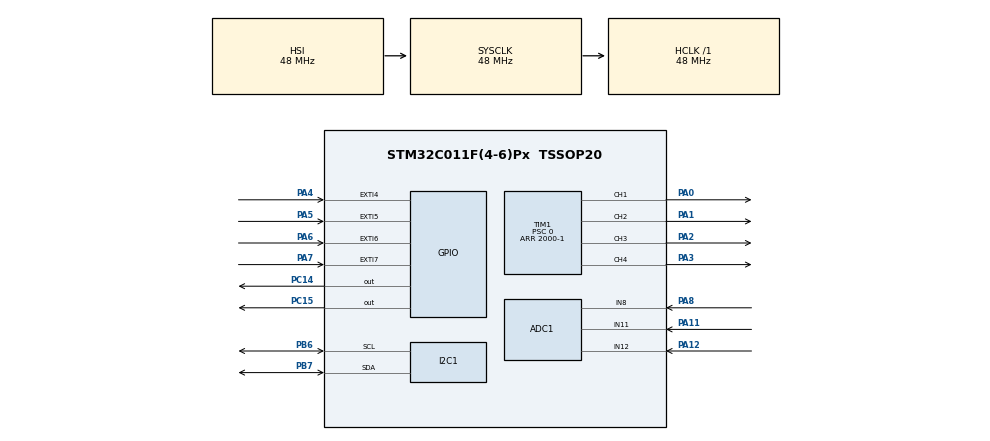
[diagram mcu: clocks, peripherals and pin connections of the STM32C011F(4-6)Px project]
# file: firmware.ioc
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ADC1.Channel-10\#ChannelRegularConversion=ADC_CHANNEL_8
ADC1.Channel-8\#ChannelRegularConversion=ADC_CHANNEL_11
ADC1.Channel-9\#ChannelRegularConversion=ADC_CHANNEL_12
ADC1.ContinuousConvMode=ENABLE
ADC1.DMAContinuousRequests=ENABLE
ADC1.EOCSelection=ADC_EOC_SEQ_CONV
ADC1.ExternalTrigConv=ADC_SOFTWARE_START
ADC1.NbrOfConversion=3
ADC1.NbrOfConversionFlag=1
ADC1.OffsetNumber-10\#ChannelRegularConversion=ADC_OFFSET_NONE
ADC1.OffsetNumber-8\#ChannelRegularConversion=ADC_OFFSET_NONE
ADC1.OffsetNumber-9\#ChannelRegularConversion=ADC_OFFSET_NONE
ADC1.OversamplingMode=DISABLE
ADC1.Rank-10\#ChannelRegularConversion=3
ADC1.Rank-8\#ChannelRegularConversion=1
ADC1.Rank-9\#ChannelRegularConversion=2
ADC1.SamplingTime-10\#ChannelRegularConversion=ADC_SAMPLINGTIME_COMMON_1
ADC1.SamplingTime-8\#ChannelRegularConversion=ADC_SAMPLINGTIME_COMMON_1
ADC1.SamplingTime-9\#ChannelRegularConversion=ADC_SAMPLINGTIME_COMMON_1
ADC1.SamplingTimeCommon1=ADC_SAMPLETIME_39CYCLES_5
ADC1.SamplingTimeCommon2=ADC_SAMPLETIME_39CYCLES_5
ADC1.SelectedChannel=ADC_CHANNEL_TEMPSENSOR|ADC_CHANNEL_8|ADC_CHANNEL_11|ADC_CHANNEL_12|ADC_CHANNEL_VDDA
ADC1.Sequencer=FULLY_CONFIGURABLE
ADC1.master=1
Dma.ADC1.0.Direction=DMA_PERIPH_TO_MEMORY
Dma.ADC1.0.EventEnable=DISABLE
Dma.ADC1.0.Instance=DMA1_Channel1
Dma.ADC1.0.MemDataAlignment=DMA_MDATAALIGN_HALFWORD
Dma.ADC1.0.MemInc=DMA_MINC_ENABLE
Dma.ADC1.0.Mode=DMA_CIRCULAR
Dma.ADC1.0.PeriphDataAlignment=DMA_PDATAALIGN_HALFWORD
Dma.ADC1.0.PeriphInc=DMA_PINC_DISABLE
Dma.ADC1.0.Polarity=HAL_DMAMUX_REQ_GEN_RISING
Dma.ADC1.0.Priority=DMA_PRIORITY_LOW
Dma.ADC1.0.RequestNumber=1
Dma.ADC1.0.SignalID=NONE
Dma.ADC1.0.SyncEnable=DISABLE
Dma.ADC1.0.SyncPolarity=HAL_DMAMUX_SYNC_NO_EVENT
Dma.ADC1.0.SyncRequestNumber=1
Dma.ADC1.0.SyncSignalID=NONE
Dma.Request0=ADC1
I2C1.OwnAddress=0x47
I2C1.Timing=0x10805D88
Mcu.Family=STM32C0
Mcu.Name=STM32C011F(4-6)Px
Mcu.Package=TSSOP20
NVIC.DMA1_Channel1_IRQn=true\:0\:0\:false\:false\:true\:false\:true\:true
NVIC.EXTI4_15_IRQn=true\:0\:0\:false\:false\:true\:true\:true\:true
NVIC.I2C1_IRQn=true\:0\:0\:false\:false\:true\:true\:true\:true
NVIC.TIM1_BRK_UP_TRG_COM_IRQn=true\:0\:0\:false\:false\:true\:true\:true\:true
NVIC.TIM1_CC_IRQn=true\:0\:0\:false\:false\:true\:true\:true\:true
NVIC.TIM3_IRQn=true\:0\:0\:false\:false\:true\:true\:true\:true
PA0.Signal=S_TIM1_CH1
PA1.Signal=S_TIM1_CH2
PA11\ [PA9].Mode=IN11
PA11\ [PA9].Signal=ADC1_IN11
PA12\ [PA10].Mode=IN12
PA12\ [PA10].Signal=ADC1_IN12
PA2.Signal=S_TIM1_CH3
PA3.Signal=S_TIM1_CH4
PA4.GPIO_ModeDefaultEXTI=GPIO_MODE_IT_RISING_FALLING
PA4.GPIO_PuPd=GPIO_PULLUP
PA4.Signal=GPXTI4
PA5.GPIO_ModeDefaultEXTI=GPIO_MODE_IT_RISING_FALLING
PA5.GPIO_PuPd=GPIO_PULLUP
PA5.Signal=GPXTI5
PA6.GPIO_ModeDefaultEXTI=GPIO_MODE_IT_RISING_FALLING
PA6.GPIO_PuPd=GPIO_PULLUP
PA6.Signal=GPXTI6
PA7.GPIO_ModeDefaultEXTI=GPIO_MODE_IT_RISING_FALLING
PA7.GPIO_PuPd=GPIO_PULLUP
PA7.Signal=GPXTI7
PA8.Mode=IN8
PA8.Signal=ADC1_IN8
PB6.GPIO_Mode=GPIO_MODE_AF_OD
PB6.GPIO_Pu=GPIO_PULLUP
PB6.GPIO_Speed=GPIO_SPEED_FREQ_VERY_HIGH
PB6.Mode=I2C
PB6.Signal=I2C1_SCL
PB7.GPIO_Mode=GPIO_MODE_AF_OD
PB7.GPIO_Pu=GPIO_PULLUP
PB7.GPIO_Speed=GPIO_SPEED_FREQ_VERY_HIGH
PB7.Mode=I2C
PB7.Signal=I2C1_SDA
PC14-OSCX_IN\ (PC14).Signal=GPIO_Output
PC15-OSCX_OUT\ (PC15).Signal=GPIO_Output
ProjectManager.HeapSize=0x200
ProjectManager.StackSize=0x400
ProjectManager.TargetToolchain=CMake
RCC.ADCFreq_Value=48000000
RCC.AHBFreq_Value=48000000
RCC.CortexFreq_Value=48000000
RCC.EXTERNAL_CLOCK_VALUE=12288000
RCC.HCLKFreq_Value=48000000
RCC.HSE_VALUE=8000000
RCC.HSISYSCLKDivider=RCC_HSI_DIV1
RCC.HSI_VALUE=48000000
RCC.LSE_VALUE=32768
RCC.SYSCLKFreq_VALUE=48000000
SH.S_TIM1_CH1.0=TIM1_CH1,PWM Generation1 CH1
SH.S_TIM1_CH2.0=TIM1_CH2,PWM Generation2 CH2
SH.S_TIM1_CH3.0=TIM1_CH3,PWM Generation3 CH3
SH.S_TIM1_CH4.0=TIM1_CH4,PWM Generation4 CH4
TIM1.Channel-PWM\ Generation1\ CH1=TIM_CHANNEL_1
TIM1.Channel-PWM\ Generation2\ CH2=TIM_CHANNEL_2
TIM1.Channel-PWM\ Generation3\ CH3=TIM_CHANNEL_3
TIM1.Channel-PWM\ Generation4\ CH4=TIM_CHANNEL_4
TIM1.Period=2000-1
TIM1.Prescaler=0
TIM3.Channel-PWM\ Generation1\ No\ Output=TIM_CHANNEL_1
TIM3.Period=1000-1
TIM3.Prescaler=48-1
VP_ADC1_TempSens_Input.Mode=IN-TempSens
VP_ADC1_Vdda_Input.Mode=IN-VDDA
VP_TIM3_VS_no_output1.Mode=PWM Generation1 No Output
board=custom

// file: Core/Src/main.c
/* USER CODE BEGIN Header */
/**
 ******************************************************************************
 * @file           : main.c
 * @brief          : Main program body
 ******************************************************************************
 * @attention
 *
 * Copyright (c) 2025 STMicroelectronics.
 * All rights reserved.
 *
 * This software is licensed under terms that can be found in the LICENSE file
 * in the root directory of this software component.
 * If no LICENSE file comes with this software, it is provided AS-IS.
 *
 ******************************************************************************
 */
/* USER CODE END Header */
#include "main.h"

/* USER CODE BEGIN Includes */
#include <math.h>
/* USER CODE END Includes */

/* USER CODE BEGIN PD */
#define I2C_SLAVE_ADDRESS 0x47

#define I2C_WHO_AM_I_REGISTER 0x75
#define I2C_DATA1_WRITE_REGISTER 0x76
#define I2C_DATA1_READ_REGISTER 0x77
#define I2C_TEMP_SENSOR_REGISTER 0x78
#define I2C_CURRENT_SENSOR_REGISTER 0x79
#define I2C_ANGLE_SENSOR_REGISTER 0x7A

#define I2C_WHO_AM_I_VALUE 0x68

#define I2C_BUFFER_SIZE 10

#define KELVIN 273.15f
#define NTC_B 3380.0f
#define NTC_R0 10000.0f
#define NTC_K0 (25.0f + 273.15f)
#define NTC_R 10000.0f
#define VDD 3.3f
#define ADC_RESOLUTION 4096.0f

/* USER CODE END PD */

ADC_HandleTypeDef hadc1;
DMA_HandleTypeDef hdma_adc1;

I2C_HandleTypeDef hi2c1;

TIM_HandleTypeDef htim1;
TIM_HandleTypeDef htim3;

/* USER CODE BEGIN PV */

uint8_t RxData[I2C_BUFFER_SIZE] = {0};
uint8_t TxData[I2C_BUFFER_SIZE] = {0};
uint8_t CountRx = 0;

uint8_t data1;

uint16_t adc_dma[5];

float temprature;
float current[2];
uint8_t angle[2];

/* USER CODE END PV */

void SystemClock_Config(void);
static void MX_GPIO_Init(void);
static void MX_DMA_Init(void);
static void MX_I2C1_Init(void);
static void MX_TIM1_Init(void);
static void MX_ADC1_Init(void);
static void MX_TIM3_Init(void);
/* USER CODE BEGIN PFP */

float convertToVoltage(uint16_t adcValue);
float convertToResistance(float Voltage);
float ConvertToCelsius(float resistance);
float AdcToCelcius(uint16_t adcValue);
float ConvertToCurrent(uint16_t adc);
void HAL_TIM_PeriodElapsedCallback(TIM_HandleTypeDef *htim);
void HAL_I2C_ListenCpltCallback(I2C_HandleTypeDef *hi2c);
void HAL_I2C_AddrCallback(I2C_HandleTypeDef *hi2c, uint8_t TransferDirection, uint16_t AddrMatchCode);
void HAL_I2C_SlaveRxCpltCallback(I2C_HandleTypeDef *hi2c);
void HAL_I2C_ErrorCallback(I2C_HandleTypeDef *hi2c);
void HAL_GPIO_EXTI_Rising_Callback(uint16_t GPIO_Pin);

/* USER CODE END PFP */

/* USER CODE BEGIN 0 */

float convertToVoltage(uint16_t adcValue)
{
	return (float)adcValue * VDD / ADC_RESOLUTION;
}

float convertToResistance(float Voltage)
{
	return (VDD / Voltage - 1.0f) * NTC_R;
}

float ConvertToCelsius(float resistance)
{
	float temp = NTC_B / (logf(resistance / NTC_R0) + NTC_B / NTC_K0);
	return temp - KELVIN;
}

float AdcToCelcius(uint16_t adcValue)
{
	return ConvertToCelsius(convertToResistance(convertToVoltage(adcValue)));
}

float ConvertToCurrent(uint16_t adc)
{
	return ((float)(adc - 1000) / ADC_RESOLUTION) / 0.092f;
}

void HAL_TIM_PeriodElapsedCallback(TIM_HandleTypeDef *htim)
{
	if (htim == &htim1)
	{
		;
	}
	else if (htim == &htim3)
	{
		current[0] = ConvertToCurrent(adc_dma[0]);
		current[1] = ConvertToCurrent(adc_dma[1]);
		temprature = AdcToCelcius(adc_dma[2]);
	}
}

void HAL_I2C_ListenCpltCallback(I2C_HandleTypeDef *hi2c)
{
	HAL_I2C_EnableListen_IT(hi2c);
}

void HAL_I2C_AddrCallback(I2C_HandleTypeDef *hi2c, uint8_t TransferDirection, uint16_t AddrMatchCode)
{
	if (TransferDirection == I2C_DIRECTION_TRANSMIT) // if the master wants to transmit the data
	{
		HAL_I2C_Slave_Seq_Receive_IT(hi2c, RxData, I2C_BUFFER_SIZE, I2C_FIRST_AND_LAST_FRAME);

		switch (RxData[0])
		{
		case I2C_DATA1_WRITE_REGISTER:
			data1 = RxData[1];
			break;

		default:
			// Error_Handler();
			break;
		}
	}
	else if (TransferDirection == I2C_DIRECTION_RECEIVE) // if the master wants to receive the data
	{
		switch (RxData[0])
		{
		case I2C_WHO_AM_I_REGISTER:
			TxData[0] = I2C_WHO_AM_I_VALUE;
			HAL_I2C_Slave_Seq_Transmit_IT(hi2c, TxData, 1, I2C_LAST_FRAME);
			break;

		case I2C_DATA1_READ_REGISTER:
			TxData[0] = data1;
			HAL_I2C_Slave_Seq_Transmit_IT(hi2c, TxData, 1, I2C_LAST_FRAME);
			break;

		case I2C_TEMP_SENSOR_REGISTER:
			uint16_t temporary = (uint16_t)(temprature * 100);
			TxData[0] = (uint8_t)(temporary >> 8);
			TxData[1] = (uint8_t)(temporary & 0xFF);
			HAL_I2C_Slave_Seq_Transmit_IT(hi2c, TxData, 2, I2C_LAST_FRAME);
			break;

		case I2C_CURRENT_SENSOR_REGISTER:
			uint16_t temporary1 = (uint16_t)(adc_dma[0]);
			uint16_t temporary2 = (uint16_t)(adc_dma[1]);
			TxData[0] = (uint8_t)(temporary1 >> 8);
			TxData[1] = (uint8_t)(temporary1 & 0xFF);
			TxData[2] = (uint8_t)(temporary2 >> 8);
			TxData[3] = (uint8_t)(temporary2 & 0xFF);
			HAL_I2C_Slave_Seq_Transmit_IT(hi2c, TxData, 4, I2C_LAST_FRAME);
			break;

		case I2C_ANGLE_SENSOR_REGISTER:
			uint8_t temporary3 = angle[0];
			uint8_t temporary4 = angle[1];
			TxData[0] = temporary3;
			TxData[1] = temporary4;
			HAL_I2C_Slave_Seq_Transmit_IT(hi2c, TxData, 2, I2C_LAST_FRAME);
			break;

		default:
			// Error_Handler();
			break;
		}
	}
}

void HAL_I2C_SlaveRxCpltCallback(I2C_HandleTypeDef *hi2c)
{
	CountRx++;
}

void HAL_I2C_ErrorCallback(I2C_HandleTypeDef *hi2c)
{
	HAL_I2C_EnableListen_IT(hi2c);
}

void HAL_GPIO_EXTI_Rising_Callback(uint16_t GPIO_Pin)
{
	if (GPIO_Pin == GPIO_PIN_4)
	{
		if (HAL_GPIO_ReadPin(GPIOA, GPIO_PIN_5) == GPIO_PIN_SET)
		{
			angle[0]++;
		}
		else
		{
			angle[0]--;
		}
	}
	else if (GPIO_Pin == GPIO_PIN_5)
	{
		if (HAL_GPIO_ReadPin(GPIOA, GPIO_PIN_4) == GPIO_PIN_SET)
		{
			angle[0]--;
		}
		else
		{
			angle[0]++;
		}
	}
	else if (GPIO_Pin == GPIO_PIN_6)
	{
		if (HAL_GPIO_ReadPin(GPIOA, GPIO_PIN_7) == GPIO_PIN_SET)
		{
			angle[1]++;
		}
		else
		{
			angle[1]--;
		}
	}
	else if (GPIO_Pin == GPIO_PIN_7)
	{
		if (HAL_GPIO_ReadPin(GPIOA, GPIO_PIN_6) == GPIO_PIN_SET)
		{
			angle[1]--;
		}
		else
		{
			angle[1]++;
		}
	}
}

/* USER CODE END 0 */

int main(void)
{

	/* MCU Configuration--------------------------------------------------------*/

	/* Reset of all peripherals, Initializes the Flash interface and the Systick. */
	HAL_Init();

	/* Configure the system clock */
	SystemClock_Config();

	/* Initialize all configured peripherals */
	MX_GPIO_Init();
	MX_DMA_Init();
	MX_I2C1_Init();
	MX_TIM1_Init();
	MX_ADC1_Init();
	MX_TIM3_Init();
	/* USER CODE BEGIN 2 */
	HAL_TIM_Base_Start_IT(&htim1);
	HAL_TIM_Base_Start_IT(&htim3);

	HAL_TIM_PWM_Start(&htim1, TIM_CHANNEL_1);
	HAL_TIM_PWM_Start(&htim1, TIM_CHANNEL_2);
	HAL_TIM_PWM_Start(&htim1, TIM_CHANNEL_3);
	HAL_TIM_PWM_Start(&htim1, TIM_CHANNEL_4);

	HAL_ADC_Start_DMA(&hadc1, (uint32_t *)adc_dma, 3);
	hdma_adc1.Instance->CCR &= ~(DMA_IT_TC | DMA_IT_HT);

	HAL_I2C_EnableListen_IT(&hi2c1);

	HAL_GPIO_TogglePin(GPIOC, GPIO_PIN_15);

	/* USER CODE END 2 */

	/* Infinite loop */
	/* USER CODE BEGIN WHILE */
	while (1)
	{
		HAL_GPIO_TogglePin(GPIOC, GPIO_PIN_14 | GPIO_PIN_15);

		__HAL_TIM_SET_COMPARE(&htim1, TIM_CHANNEL_1, 0);
		__HAL_TIM_SET_COMPARE(&htim1, TIM_CHANNEL_2, 1999);
		__HAL_TIM_SET_COMPARE(&htim1, TIM_CHANNEL_3, 0);
		__HAL_TIM_SET_COMPARE(&htim1, TIM_CHANNEL_4, 1999);

		HAL_Delay(200);

		HAL_GPIO_TogglePin(GPIOC, GPIO_PIN_14 | GPIO_PIN_15);

		__HAL_TIM_SET_COMPARE(&htim1, TIM_CHANNEL_1, 1999);
		__HAL_TIM_SET_COMPARE(&htim1, TIM_CHANNEL_2, 0);
		__HAL_TIM_SET_COMPARE(&htim1, TIM_CHANNEL_3, 1999);
		__HAL_TIM_SET_COMPARE(&htim1, TIM_CHANNEL_4, 0);

		HAL_Delay(200);
		/* USER CODE END WHILE */

	}
}

void SystemClock_Config(void)
{
	RCC_OscInitTypeDef RCC_OscInitStruct = {0};
	RCC_ClkInitTypeDef RCC_ClkInitStruct = {0};

	__HAL_FLASH_SET_LATENCY(FLASH_LATENCY_1);

	/** Initializes the RCC Oscillators according to the specified parameters
	 * in the RCC_OscInitTypeDef structure.
	 */
	RCC_OscInitStruct.OscillatorType = RCC_OSCILLATORTYPE_HSI;
	RCC_OscInitStruct.HSIState = RCC_HSI_ON;
	RCC_OscInitStruct.HSIDiv = RCC_HSI_DIV1;
	RCC_OscInitStruct.HSICalibrationValue = RCC_HSICALIBRATION_DEFAULT;
	if (HAL_RCC_OscConfig(&RCC_OscInitStruct) != HAL_OK)
	{
		Error_Handler();
	}

	/** Initializes the CPU, AHB and APB buses clocks
	 */
	RCC_ClkInitStruct.ClockType = RCC_CLOCKTYPE_HCLK | RCC_CLOCKTYPE_SYSCLK | RCC_CLOCKTYPE_PCLK1;
	RCC_ClkInitStruct.SYSCLKSource = RCC_SYSCLKSOURCE_HSI;
	RCC_ClkInitStruct.SYSCLKDivider = RCC_SYSCLK_DIV1;
	RCC_ClkInitStruct.AHBCLKDivider = RCC_HCLK_DIV1;
	RCC_ClkInitStruct.APB1CLKDivider = RCC_APB1_DIV1;

	if (HAL_RCC_ClockConfig(&RCC_ClkInitStruct, FLASH_LATENCY_1) != HAL_OK)
	{
		Error_Handler();
	}
}

static void MX_ADC1_Init(void)
{

	ADC_ChannelConfTypeDef sConfig = {0};

	/** Configure the global features of the ADC (Clock, Resolution, Data Alignment and number of conversion)
	 */
	hadc1.Instance = ADC1;
	hadc1.Init.ClockPrescaler = ADC_CLOCK_SYNC_PCLK_DIV2;
	hadc1.Init.Resolution = ADC_RESOLUTION_12B;
	hadc1.Init.DataAlign = ADC_DATAALIGN_RIGHT;
	hadc1.Init.ScanConvMode = ADC_SCAN_ENABLE;
	hadc1.Init.EOCSelection = ADC_EOC_SEQ_CONV;
	hadc1.Init.LowPowerAutoWait = DISABLE;
	hadc1.Init.LowPowerAutoPowerOff = DISABLE;
	hadc1.Init.ContinuousConvMode = ENABLE;
	hadc1.Init.NbrOfConversion = 3;
	hadc1.Init.ExternalTrigConv = ADC_SOFTWARE_START;
	hadc1.Init.ExternalTrigConvEdge = ADC_EXTERNALTRIGCONVEDGE_NONE;
	hadc1.Init.DMAContinuousRequests = ENABLE;
	hadc1.Init.Overrun = ADC_OVR_DATA_PRESERVED;
	hadc1.Init.SamplingTimeCommon1 = ADC_SAMPLETIME_39CYCLES_5;
	hadc1.Init.SamplingTimeCommon2 = ADC_SAMPLETIME_39CYCLES_5;
	hadc1.Init.OversamplingMode = DISABLE;
	hadc1.Init.TriggerFrequencyMode = ADC_TRIGGER_FREQ_HIGH;
	if (HAL_ADC_Init(&hadc1) != HAL_OK)
	{
		Error_Handler();
	}

	/** Configure Regular Channel
	 */
	sConfig.Channel = ADC_CHANNEL_11;
	sConfig.Rank = ADC_REGULAR_RANK_1;
	sConfig.SamplingTime = ADC_SAMPLINGTIME_COMMON_1;
	if (HAL_ADC_ConfigChannel(&hadc1, &sConfig) != HAL_OK)
	{
		Error_Handler();
	}

	/** Configure Regular Channel
	 */
	sConfig.Channel = ADC_CHANNEL_12;
	sConfig.Rank = ADC_REGULAR_RANK_2;
	if (HAL_ADC_ConfigChannel(&hadc1, &sConfig) != HAL_OK)
	{
		Error_Handler();
	}

	/** Configure Regular Channel
	 */
	sConfig.Channel = ADC_CHANNEL_8;
	sConfig.Rank = ADC_REGULAR_RANK_3;
	if (HAL_ADC_ConfigChannel(&hadc1, &sConfig) != HAL_OK)
	{
		Error_Handler();
	}
}

static void MX_I2C1_Init(void)
{

	hi2c1.Instance = I2C1;
	hi2c1.Init.Timing = 0x10805D88;
	hi2c1.Init.OwnAddress1 = 142;
	hi2c1.Init.AddressingMode = I2C_ADDRESSINGMODE_7BIT;
	hi2c1.Init.DualAddressMode = I2C_DUALADDRESS_DISABLE;
	hi2c1.Init.OwnAddress2 = 0;
	hi2c1.Init.OwnAddress2Masks = I2C_OA2_NOMASK;
	hi2c1.Init.GeneralCallMode = I2C_GENERALCALL_DISABLE;
	hi2c1.Init.NoStretchMode = I2C_NOSTRETCH_DISABLE;
	if (HAL_I2C_Init(&hi2c1) != HAL_OK)
	{
		Error_Handler();
	}

	/** Configure Analogue filter
	 */
	if (HAL_I2CEx_ConfigAnalogFilter(&hi2c1, I2C_ANALOGFILTER_ENABLE) != HAL_OK)
	{
		Error_Handler();
	}

	/** Configure Digital filter
	 */
	if (HAL_I2CEx_ConfigDigitalFilter(&hi2c1, 0) != HAL_OK)
	{
		Error_Handler();
	}
}

static void MX_TIM1_Init(void)
{

	TIM_MasterConfigTypeDef sMasterConfig = {0};
	TIM_OC_InitTypeDef sConfigOC = {0};
	TIM_BreakDeadTimeConfigTypeDef sBreakDeadTimeConfig = {0};

	htim1.Instance = TIM1;
	htim1.Init.Prescaler = 0;
	htim1.Init.CounterMode = TIM_COUNTERMODE_UP;
	htim1.Init.Period = 2000 - 1;
	htim1.Init.ClockDivision = TIM_CLOCKDIVISION_DIV1;
	htim1.Init.RepetitionCounter = 0;
	htim1.Init.AutoReloadPreload = TIM_AUTORELOAD_PRELOAD_DISABLE;
	if (HAL_TIM_PWM_Init(&htim1) != HAL_OK)
	{
		Error_Handler();
	}
	sMasterConfig.MasterOutputTrigger = TIM_TRGO_RESET;
	sMasterConfig.MasterOutputTrigger2 = TIM_TRGO2_RESET;
	sMasterConfig.MasterSlaveMode = TIM_MASTERSLAVEMODE_DISABLE;
	if (HAL_TIMEx_MasterConfigSynchronization(&htim1, &sMasterConfig) != HAL_OK)
	{
		Error_Handler();
	}
	sConfigOC.OCMode = TIM_OCMODE_PWM1;
	sConfigOC.Pulse = 0;
	sConfigOC.OCPolarity = TIM_OCPOLARITY_HIGH;
	sConfigOC.OCNPolarity = TIM_OCNPOLARITY_HIGH;
	sConfigOC.OCFastMode = TIM_OCFAST_DISABLE;
	sConfigOC.OCIdleState = TIM_OCIDLESTATE_RESET;
	sConfigOC.OCNIdleState = TIM_OCNIDLESTATE_RESET;
	if (HAL_TIM_PWM_ConfigChannel(&htim1, &sConfigOC, TIM_CHANNEL_1) != HAL_OK)
	{
		Error_Handler();
	}
	if (HAL_TIM_PWM_ConfigChannel(&htim1, &sConfigOC, TIM_CHANNEL_2) != HAL_OK)
	{
		Error_Handler();
	}
	if (HAL_TIM_PWM_ConfigChannel(&htim1, &sConfigOC, TIM_CHANNEL_3) != HAL_OK)
	{
		Error_Handler();
	}
	if (HAL_TIM_PWM_ConfigChannel(&htim1, &sConfigOC, TIM_CHANNEL_4) != HAL_OK)
	{
		Error_Handler();
	}
	sBreakDeadTimeConfig.OffStateRunMode = TIM_OSSR_DISABLE;
	sBreakDeadTimeConfig.OffStateIDLEMode = TIM_OSSI_DISABLE;
	sBreakDeadTimeConfig.LockLevel = TIM_LOCKLEVEL_OFF;
	sBreakDeadTimeConfig.DeadTime = 0;
	sBreakDeadTimeConfig.BreakState = TIM_BREAK_DISABLE;
	sBreakDeadTimeConfig.BreakPolarity = TIM_BREAKPOLARITY_HIGH;
	sBreakDeadTimeConfig.BreakFilter = 0;
	sBreakDeadTimeConfig.BreakAFMode = TIM_BREAK_AFMODE_INPUT;
	sBreakDeadTimeConfig.Break2State = TIM_BREAK2_DISABLE;
	sBreakDeadTimeConfig.Break2Polarity = TIM_BREAK2POLARITY_HIGH;
	sBreakDeadTimeConfig.Break2Filter = 0;
	sBreakDeadTimeConfig.Break2AFMode = TIM_BREAK_AFMODE_INPUT;
	sBreakDeadTimeConfig.AutomaticOutput = TIM_AUTOMATICOUTPUT_DISABLE;
	if (HAL_TIMEx_ConfigBreakDeadTime(&htim1, &sBreakDeadTimeConfig) != HAL_OK)
	{
		Error_Handler();
	}
	HAL_TIM_MspPostInit(&htim1);
}

static void MX_TIM3_Init(void)
{

	TIM_MasterConfigTypeDef sMasterConfig = {0};
	TIM_OC_InitTypeDef sConfigOC = {0};

	htim3.Instance = TIM3;
	htim3.Init.Prescaler = 48 - 1;
	htim3.Init.CounterMode = TIM_COUNTERMODE_UP;
	htim3.Init.Period = 1000 - 1;
	htim3.Init.ClockDivision = TIM_CLOCKDIVISION_DIV1;
	htim3.Init.AutoReloadPreload = TIM_AUTORELOAD_PRELOAD_DISABLE;
	if (HAL_TIM_PWM_Init(&htim3) != HAL_OK)
	{
		Error_Handler();
	}
	sMasterConfig.MasterOutputTrigger = TIM_TRGO_RESET;
	sMasterConfig.MasterSlaveMode = TIM_MASTERSLAVEMODE_DISABLE;
	if (HAL_TIMEx_MasterConfigSynchronization(&htim3, &sMasterConfig) != HAL_OK)
	{
		Error_Handler();
	}
	sConfigOC.OCMode = TIM_OCMODE_PWM1;
	sConfigOC.Pulse = 0;
	sConfigOC.OCPolarity = TIM_OCPOLARITY_HIGH;
	sConfigOC.OCFastMode = TIM_OCFAST_DISABLE;
	if (HAL_TIM_PWM_ConfigChannel(&htim3, &sConfigOC, TIM_CHANNEL_1) != HAL_OK)
	{
		Error_Handler();
	}
}

static void MX_DMA_Init(void)
{

	/* DMA controller clock enable */
	__HAL_RCC_DMA1_CLK_ENABLE();

	/* DMA interrupt init */
	/* DMA1_Channel1_IRQn interrupt configuration */
	HAL_NVIC_SetPriority(DMA1_Channel1_IRQn, 0, 0);
	HAL_NVIC_EnableIRQ(DMA1_Channel1_IRQn);
}

static void MX_GPIO_Init(void)
{
	GPIO_InitTypeDef GPIO_InitStruct = {0};

	/* GPIO Ports Clock Enable */
	__HAL_RCC_GPIOB_CLK_ENABLE();
	__HAL_RCC_GPIOC_CLK_ENABLE();
	__HAL_RCC_GPIOA_CLK_ENABLE();

	/*Configure GPIO pin Output Level */
	HAL_GPIO_WritePin(GPIOC, GPIO_PIN_14 | GPIO_PIN_15, GPIO_PIN_RESET);

	/*Configure GPIO pins : PC14 PC15 */
	GPIO_InitStruct.Pin = GPIO_PIN_14 | GPIO_PIN_15;
	GPIO_InitStruct.Mode = GPIO_MODE_OUTPUT_PP;
	GPIO_InitStruct.Pull = GPIO_NOPULL;
	GPIO_InitStruct.Speed = GPIO_SPEED_FREQ_LOW;
	HAL_GPIO_Init(GPIOC, &GPIO_InitStruct);

	/*Configure GPIO pins : PA4 PA5 PA6 PA7 */
	GPIO_InitStruct.Pin = GPIO_PIN_4 | GPIO_PIN_5 | GPIO_PIN_6 | GPIO_PIN_7;
	GPIO_InitStruct.Mode = GPIO_MODE_IT_RISING_FALLING;
	GPIO_InitStruct.Pull = GPIO_PULLUP;
	HAL_GPIO_Init(GPIOA, &GPIO_InitStruct);

	/* EXTI interrupt init*/
	HAL_NVIC_SetPriority(EXTI4_15_IRQn, 0, 0);
	HAL_NVIC_EnableIRQ(EXTI4_15_IRQn);

}

void Error_Handler(void)
{
	__disable_irq();
	while (1)
	{
	}
}
